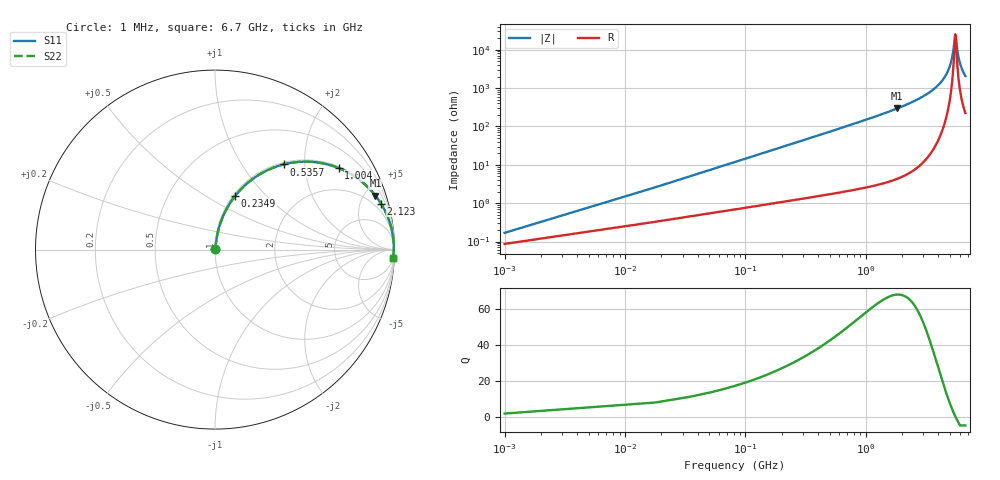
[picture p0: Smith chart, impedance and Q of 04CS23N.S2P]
! Coilcraft 0402CS-23N Chip Inductor
! 29 May 2002
# MHZ S MA R 50
!Freq  MagS11  AngS11  MagS21  AngS21  MagS12  AngS12  MagS22  AngS22
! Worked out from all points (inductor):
!   402 points, 1 MHz to 6.7 GHz, reference 50 ohm
!   read as one part in series: L = 23 nH near 34.42 MHz
!   highest Q = 68.3 at 1.822 GHz (marker M1), where L = 25.8 nH
!   self-resonance near 5.532 GHz
!   S11 on the Smith chart (normalised r, x): 1 MHz: 1.00, +0.00; 234.9 MHz: 1.02, +0.68; 535.7 MHz: 1.04, +1.56; 1.004 GHz: 1.05, +3.00; 2.123 GHz: 1.11, +7.20; 6.7 GHz: 5, -41
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1  0.001684 59.0  0.9991 -0.1  0.9991 -0.1  0.001684 59.0
51.13  0.0735 81.6  0.9919 -4.2  0.9919 -4.2  0.0735 81.6
67.84  0.09718 80.8  0.9891 -5.6  0.9891 -5.6  0.09718 80.8
134.68  0.1897 76.5  0.9733 -10.9  0.9733 -10.9  0.1897 76.5
234.94  0.3189 69.5  0.937 -18.6  0.937 -18.6  0.3189 69.5
535.72  0.6092 51.2  0.7793 -37.5  0.7793 -37.5  0.6092 51.2
1003.6  0.8255 33.4  0.5504 -55.6  0.5504 -55.6  0.8255 33.4
1120.57  0.8544 30.4  0.5059 -58.7  0.5059 -58.7  0.8544 30.4
1822.39  0.943 18.6  0.3192 -70.6  0.3192 -70.6  0.943 18.6
2123.17  0.9598 15.5  0.2667 -73.7  0.2667 -73.7  0.9598 15.5
2240.14  0.9647 14.4  0.2491 -74.7  0.2491 -74.7  0.9647 14.4
3359.71  0.9887 7.4  0.1285 -81.3  0.1285 -81.3  0.9887 7.4
4479.28  0.9954 3.0  0.05305 -83.5  0.05305 -83.5  0.9954 3.0
4846.9  0.996 1.9  0.03322 -82.1  0.03322 -82.1  0.996 1.9
5130.97  0.9962 1.1  0.01914 -77.9  0.01914 -77.9  0.9962 1.1
5298.07  0.9962 0.6  0.01143 -70.1  0.01143 -70.1  0.9962 0.6
5515.3  0.996 0.0  0.004044 -11.1  0.004044 -11.1  0.996 0.0
5598.85  0.996 -0.2  0.005012 36.1  0.005012 36.1  0.996 -0.2
5765.95  0.9957 -0.6  0.01111 67.2  0.01111 67.2  0.9957 -0.6
5983.18  0.9954 -1.1  0.01999 76.1  0.01999 76.1  0.9954 -1.1
6300.67  0.9947 -1.9  0.03275 79.8  0.03275 79.8  0.9947 -1.9
6700  0.9936 -2.7  0.04811 81.0  0.04811 81.0  0.9936 -2.7
